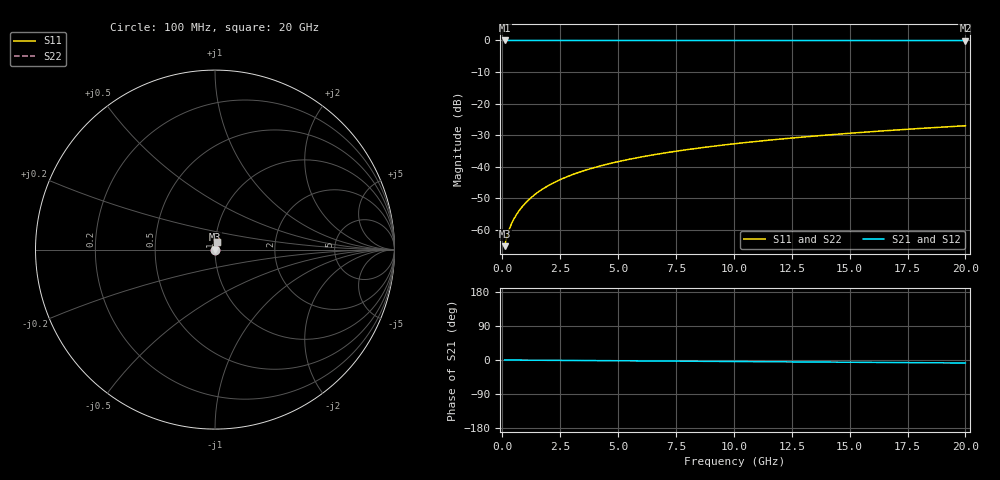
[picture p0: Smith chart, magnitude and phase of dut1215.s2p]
! Touchstone file exported from HFSS 2026.1.0
!  File:  C:/ffzhzh/LocalFiles/Ansys_Project_Files/temp_train_TMRDL_1215_1783163207_43440.aedt
!  Generated:  07:08:04 PM Jul  4, 2026
!  Design:  TMRDL
!  Project:  temp_train_TMRDL_1215_1783163207_43440
! Variables:
!  h_bsmrdl = 2um
!  h_ox = 20um
!  h_rdl = 5um
!  h_sub = 80um
!  h_tmrdl = 5.72um
!  h_tsv = 80um
!  h_via = 3um
!  l_bsmrdl = 300um
!  l_sub = 513.36um
!  l_tmrdl = 113.36um
!  m_sub = 200um
!  pitch = 34.82um
!  r_tsv = 6um
!  s_tmrdl = 10um
!  w_bsmrdl = 18um
!  w_sub = 500um
!  w_tmrdl = 22.74um
!  x_tsv_center1 = 124.73um
!  x_tsv_center2 = 442.73um
!  x_tsv_center3 = 578.83um
!  x_tsv_center4 = 896.83um
!  x_tsv_center5 = 1032.93um
!  x_tsv_center6 = 1350.93um
# GHz S MA R 50.000000
! Terminal data exported
! Port[1] = TM_RDL1_1_T1
! Port[2] = TM_RDL1_1_T2
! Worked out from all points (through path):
!   200 points, 100 MHz to 20 GHz, reference 50 ohm
!   highest |S21| = 0.00 dB at 100 MHz (marker M1); lowest = 0.0 dB at 20 GHz (marker M2)
!   group delay of S21, straight-line fit = 1.09 ps
!   lowest |S11| = -65.1 dB at 100 MHz (marker M3), VSWR 1.00, Z = 50 + j0.0311 ohm
!   |S11| at or under -10 dB: start of sweep to end of sweep
!   |S22| runs from -65.1 to -27.0 dB; largest |S21 - S12| = 2.5e-15
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0.1  0.0005532 34.2  0.9995 -0.0  0.9995 -0.0  0.0005532 34.2
! Gamma 0 0 0 0
! Port Impedance 50 0 50 0
0.2  0.0007797 50.2  0.9995 -0.1  0.9995 -0.1  0.0007797 50.2
0.3  0.00102 57.8  0.9995 -0.1  0.9995 -0.1  0.00102 57.8
0.4  0.001255 62.5  0.9994 -0.2  0.9994 -0.2  0.001255 62.5
0.5  0.001488 65.8  0.9994 -0.2  0.9994 -0.2  0.001488 65.8
0.6  0.001719 68.4  0.9994 -0.3  0.9994 -0.3  0.001719 68.4
0.8  0.002187 72.1  0.9993 -0.3  0.9993 -0.3  0.002187 72.1
1.1  0.002898 75.5  0.9993 -0.5  0.9993 -0.5  0.002898 75.5
1.3  0.003378 77.0  0.9993 -0.5  0.9993 -0.5  0.003378 77.0
1.6  0.0041 78.5  0.9992 -0.7  0.9992 -0.7  0.0041 78.5
2.1  0.005303 80.0  0.9991 -0.9  0.9991 -0.9  0.005303 80.0
2.7  0.006735 80.8  0.999 -1.1  0.999 -1.1  0.006735 80.8
3.5  0.008616 81.2  0.9989 -1.4  0.9989 -1.4  0.008616 81.2
4.2  0.01023 81.4  0.9987 -1.7  0.9987 -1.7  0.01023 81.4
5  0.01205 81.4  0.9986 -2.0  0.9986 -2.0  0.01205 81.4
5.9  0.01407 81.4  0.9984 -2.4  0.9984 -2.4  0.01407 81.4
6.8  0.01607 81.3  0.9982 -2.7  0.9982 -2.7  0.01607 81.3
8.3  0.01937 81.2  0.9979 -3.3  0.9979 -3.3  0.01937 81.2
10.1  0.0233 80.9  0.9977 -4.0  0.9977 -4.0  0.0233 80.9
13.4  0.03046 80.2  0.9972 -5.3  0.9972 -5.3  0.03046 80.2
16.7  0.03756 79.3  0.9966 -6.6  0.9966 -6.6  0.03756 79.3
20  0.04459 78.3  0.996 -7.9  0.996 -7.9  0.04459 78.3
